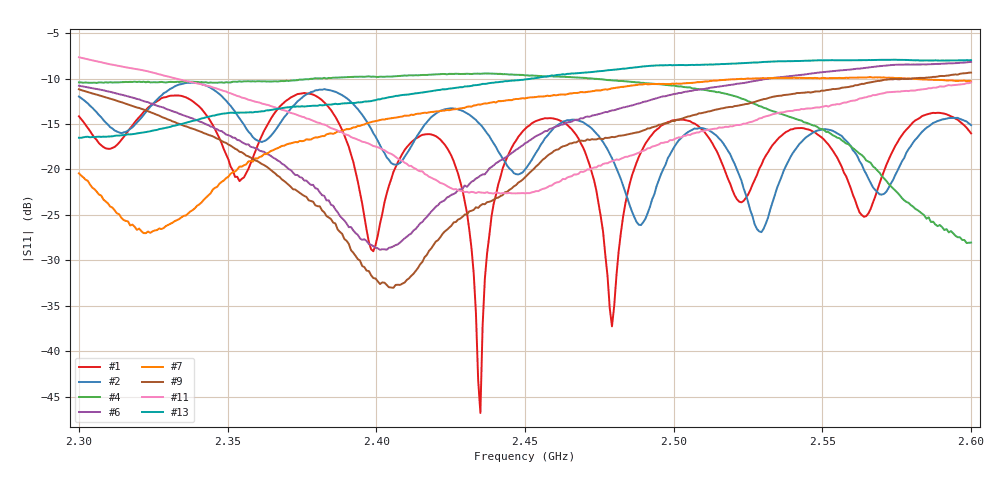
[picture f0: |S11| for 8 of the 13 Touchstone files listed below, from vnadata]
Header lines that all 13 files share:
! NanoVNA-App
! Start: 2.3GHz Stop: 2.6GHz Points: 401
! S-Parameter data: F S11
# Hz S RI R 50
!  Frequency  S11_Real  S11_Imag
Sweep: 2.3 GHz to 2.6 GHz
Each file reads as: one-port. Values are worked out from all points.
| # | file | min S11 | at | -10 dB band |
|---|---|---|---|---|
| 1 | MIMO3-01-2.4ghz.s1p | -46.8 dB | 2.435 GHz | over 300 MHz wide |
| 2 | MIMO3-03-2.4ghz.s1p | -26.9 dB | 2.53 GHz | over 300 MHz wide |
| 3 | NT5B-01-2.4ghz.s1p | -18.0 dB | 2.6 GHz | over 136.9 MHz wide |
| 4 | NT5B-02-2.4ghz.s1p | -28.1 dB | 2.599 GHz | over 127.4 MHz wide |
| 5 | pb-05-2.4ghz.s1p | -63.0 dB | 2.384 GHz | over 200.4 MHz wide |
| 6 | pb-06-2.4ghz.s1p | -28.8 dB | 2.401 GHz | over 232.2 MHz wide |
| 7 | RED-03-2.4ghz.s1p | -27.0 dB | 2.322 GHz | over 226.7 MHz wide |
| 8 | RED-04-2.4ghz.s1p | -28.4 dB | 2.361 GHz | over 300 MHz wide |
| 9 | sb-02-2.4ghz.s1p | -33.0 dB | 2.406 GHz | over 280.2 MHz wide |
| 10 | sb-04-2.4ghz.s1p | -32.2 dB | 2.458 GHz | over 300 MHz wide |
| 11 | sb-06-2.4ghz.s1p | -22.7 dB | 2.442 GHz | over 267.5 MHz wide |
| 12 | sb-07-2.4ghz.s1p | -27.2 dB | 2.447 GHz | over 274.7 MHz wide |
| 13 | SF-01-2.4ghz.s1p | -16.5 dB | 2.301 GHz | over 152.2 MHz wide |
